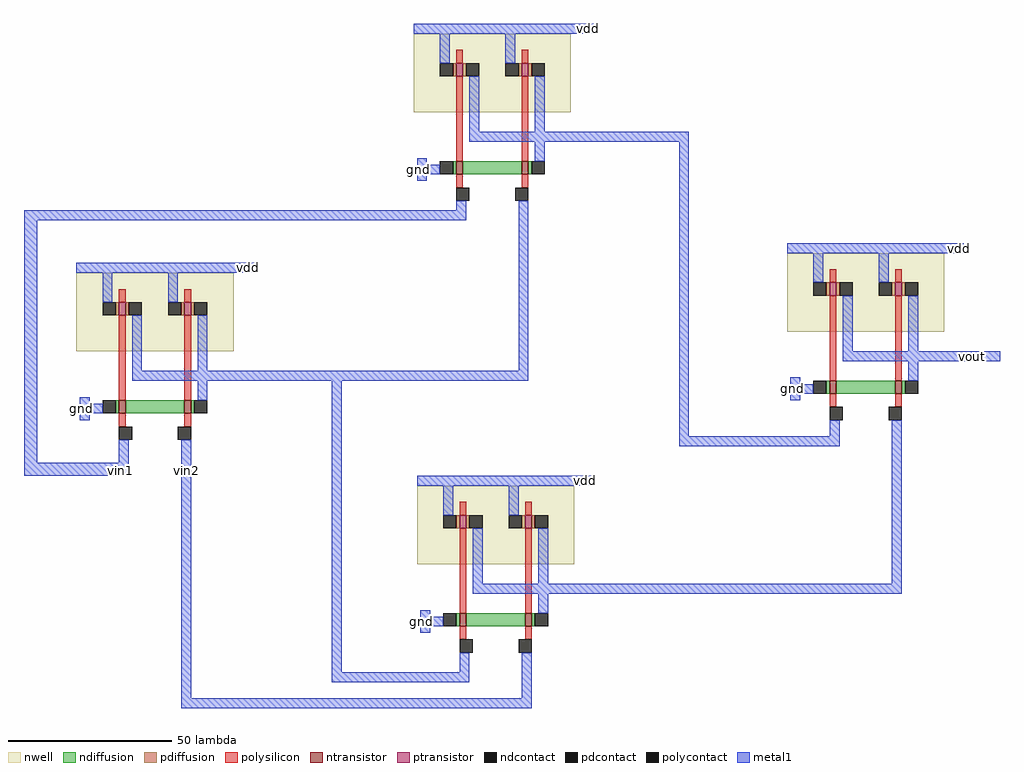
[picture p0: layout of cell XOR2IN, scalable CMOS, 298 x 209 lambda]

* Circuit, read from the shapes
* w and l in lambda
.subckt XOR2IN gnd vdd vin1 vin2 vout
M1 n1 vin1 gnd VSUBS nfet w=4 l=2
M2 NAND2IN_2/vin1 vin2 n1 VSUBS nfet w=4 l=2
M3 n2 vin1 gnd VSUBS nfet w=4 l=2
M4 n3 NAND2IN_2/vin1 gnd VSUBS nfet w=4 l=2
M5 NAND2IN_3/vin1 NAND2IN_2/vin1 n2 VSUBS nfet w=4 l=2
M6 NAND2IN_3/vin2 vin2 n3 VSUBS nfet w=4 l=2
M7 n4 NAND2IN_3/vin1 gnd VSUBS nfet w=4 l=2
M8 vout NAND2IN_3/vin2 n4 VSUBS nfet w=4 l=2
M9 NAND2IN_2/vin1 vin1 vdd n5 pfet w=4 l=2
M10 NAND2IN_2/vin1 vin2 vdd n5 pfet w=4 l=2
M11 NAND2IN_3/vin1 vin1 vdd n6 pfet w=4 l=2
M12 NAND2IN_3/vin2 NAND2IN_2/vin1 vdd n7 pfet w=4 l=2
M13 NAND2IN_3/vin1 NAND2IN_2/vin1 vdd n6 pfet w=4 l=2
M14 NAND2IN_3/vin2 vin2 vdd n7 pfet w=4 l=2
M15 vout NAND2IN_3/vin1 vdd n8 pfet w=4 l=2
M16 vout NAND2IN_3/vin2 vdd n8 pfet w=4 l=2
.ends

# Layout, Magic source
magic
tech scmos
<< metal1 >>
rect 61 99 62 100
rect 75 98 83 101
rect 75 65 112 68
rect 29 58 32 60
rect 29 57 33 58
rect 29 53 32 57
rect -91 41 44 44
rect -91 -33 -87 41
rect -38 26 -37 27
rect -28 25 -20 28
rect 60 -5 63 45
rect -29 -8 63 -5
rect -74 -20 -71 -13
rect -62 -33 -59 -30
rect -91 -37 -59 -33
rect -43 -105 -40 -29
rect 3 -97 6 -8
rect 109 -25 112 65
rect 189 31 196 34
rect 189 -2 207 1
rect 143 -14 146 -7
rect 155 -25 158 -23
rect 109 -28 158 -25
rect 76 -40 83 -37
rect 174 -70 177 -22
rect 76 -73 177 -70
rect 30 -85 33 -78
rect 42 -97 45 -94
rect 3 -100 45 -97
rect 61 -105 64 -93
rect -43 -108 64 -105
use NAND2IN  NAND2IN_0
transform 1 0 -59 0 1 5
box -16 -35 32 23
use NAND2IN  NAND2IN_1
transform 1 0 44 0 1 78
box -16 -35 32 23
use NAND2IN  NAND2IN_2
transform 1 0 45 0 1 -60
box -16 -35 32 23
use NAND2IN  NAND2IN_3
transform 1 0 158 0 1 11
box -16 -35 32 23
<< labels >>
rlabel metal1 -62 -36 -61 -35 1 vin1
rlabel metal1 -42 -36 -41 -35 1 vin2
rlabel metal1 -74 -17 -73 -16 1 gnd
rlabel metal1 30 -82 31 -81 1 gnd
rlabel metal1 29 56 30 57 1 gnd
rlabel metal1 143 -11 144 -10 1 gnd
rlabel metal1 194 32 195 33 7 vdd
rlabel metal1 81 99 82 100 5 vdd
rlabel metal1 80 -39 81 -38 1 vdd
rlabel metal1 -23 26 -22 27 1 vdd
rlabel metal1 198 -1 199 0 1 vout
<< end >>

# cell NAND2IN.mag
magic
tech scmos
<< nwell >>
rect -16 -4 32 20
<< ntransistor >>
rect -3 -23 -1 -19
rect 17 -23 19 -19
<< ptransistor >>
rect -3 7 -1 11
rect 17 7 19 11
<< ndiffusion >>
rect -4 -23 -3 -19
rect -1 -23 17 -19
rect 19 -23 20 -19
<< pdiffusion >>
rect -4 7 -3 11
rect -1 7 0 11
rect 16 7 17 11
rect 19 7 20 11
<< ndcontact >>
rect -8 -23 -4 -19
rect 20 -23 24 -19
<< pdcontact >>
rect -8 7 -4 11
rect 0 7 4 11
rect 12 7 16 11
rect 20 7 24 11
<< polysilicon >>
rect -3 11 -1 15
rect 17 11 19 15
rect -3 -19 -1 7
rect 17 -19 19 7
rect -3 -27 -1 -23
rect 17 -27 19 -23
<< polycontact >>
rect -3 -31 1 -27
rect 15 -31 19 -27
<< metal1 >>
rect -16 20 32 23
rect -8 11 -5 20
rect 12 11 15 20
rect 1 -10 4 7
rect 21 -10 24 7
rect 1 -13 32 -10
rect 21 -19 24 -13
rect -13 -23 -8 -20
rect -3 -35 0 -31
rect 16 -35 19 -31
<< labels >>
rlabel metal1 7 21 8 22 5 vdd
rlabel metal1 28 -12 29 -11 7 vout
rlabel metal1 -12 -22 -11 -21 3 gnd
rlabel metal1 -2 -33 -1 -32 1 vin1
rlabel metal1 17 -33 18 -32 1 vin2
<< end >>
